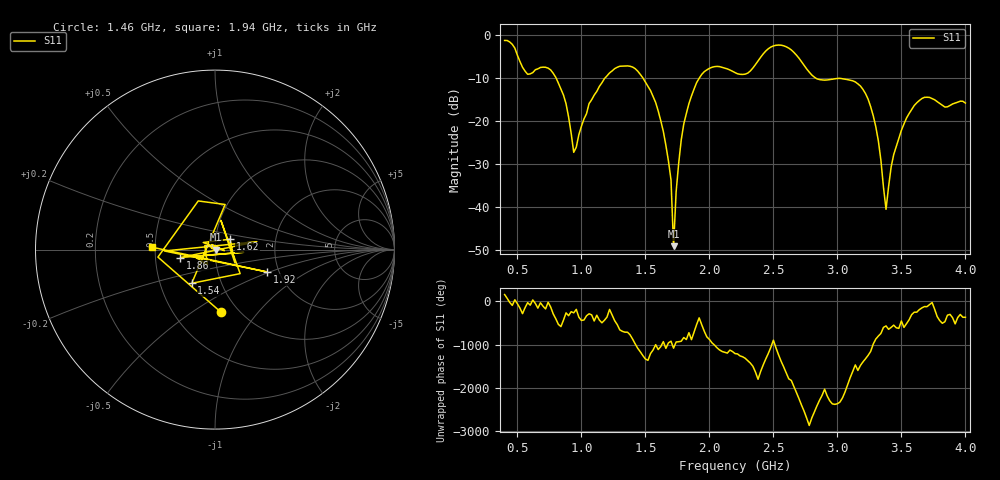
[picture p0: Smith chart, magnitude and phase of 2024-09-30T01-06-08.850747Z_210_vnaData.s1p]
!Created with skrf (http://scikit-rf.org).
# Hz S RI R 50.0
!freq ReS11 ImS11
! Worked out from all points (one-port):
!   181 points, 400 MHz to 4 GHz, reference 50 ohm
!   lowest |S11| = -49.0 dB at 1.72 GHz (marker M1), VSWR 1.01, Z = 50.4 - j0.0145 ohm
!   |S11| at or under -10 dB: 803.4 MHz to 1.182 GHz (378.4 MHz wide, 38.1 % of centre); 1.482 GHz to 1.92 GHz (437.1 MHz wide, 25.7 % of centre); 3.023 GHz to end of sweep (the widest 3 of 4)
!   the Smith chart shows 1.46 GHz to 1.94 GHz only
!   S11 on the Smith chart (normalised r, x): 1.46 GHz: 0.83, -0.66; 1.54 GHz: 0.72, -0.29; 1.62 GHz: 1.17, +0.14; 1.86 GHz: 0.67, -0.06; 1.92 GHz: 1.74, -0.48; 1.94 GHz: 0.48, +0.01
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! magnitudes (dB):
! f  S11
! 400 MHz  -1.2
! 580 MHz  -9.1
! 760 MHz  -8.0
! 860 MHz  -13.9
! 940 MHz  -27.2
! 1.06 GHz  -15.9
! 1.3 GHz  -7.2
! 1.46 GHz  -9.1
! 1.54 GHz  -12.8
! 1.62 GHz  -19.8
! 1.7 GHz  -33.6
! 1.72 GHz  -49.0
! 1.74 GHz  -36.4
! 1.76 GHz  -29.7
! 1.86 GHz  -14.1
! 1.92 GHz  -10.0
! 1.94 GHz  -9.1
! 2.2 GHz  -8.7
! 2.5 GHz  -2.5
! 2.66 GHz  -4.0
! 2.84 GHz  -10.1
! 3.1 GHz  -10.4
! 3.28 GHz  -18.7
! 3.38 GHz  -40.4
! 3.44 GHz  -27.7
! 3.56 GHz  -18.2
! 3.68 GHz  -14.4
! 4 GHz  -15.7
